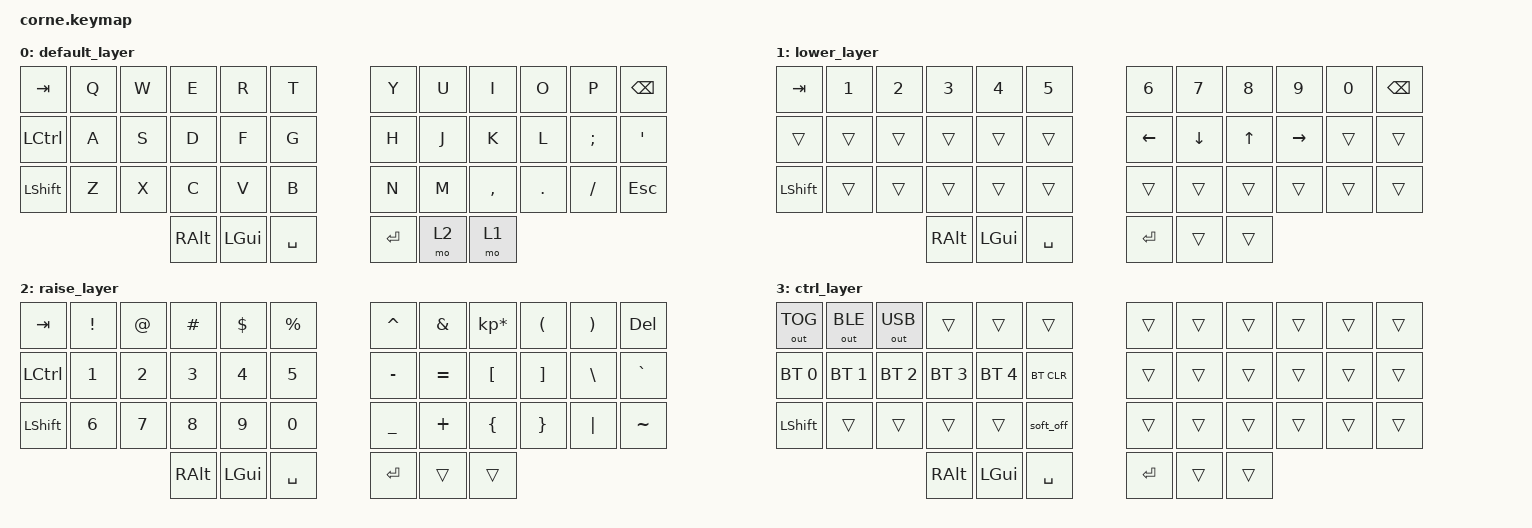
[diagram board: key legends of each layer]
/*
 * Copyright (c) 2020 The ZMK Contributors
 *
 * SPDX-License-Identifier: MIT
 */

#include <behaviors.dtsi>
#include <dt-bindings/zmk/keys.h>
#include <dt-bindings/zmk/bt.h>
#include <dt-bindings/zmk/ext_power.h>
#include <dt-bindings/zmk/outputs.h>

/ {
    conditional_layers {
        compatible = "zmk,conditional-layers";
        tri_layer {
            if-layers = <1 2>;
            then-layer = <3>;
        };
    };
    
        keymap {
                compatible = "zmk,keymap";

                default_layer {
// -----------------------------------------------------------------------------------------
// |  TAB |  Q  |  W  |  E  |  R  |  T  |   |  Y  |  U  |  I  |  O  |  P  | BKSP |
// | CTRL |  A  |  S  |  D  |  F  |  G  |   |  H  |  J  |  K  |  L  |  ;  |  '   |
// | SHFT |  Z  |  X  |  C  |  V  |  B  |   |  N  |  M  |  ,  |  .  |  /  | ESC  |
//                    | ALT | GUI | SPC |   | ENT | RSE | LWR |  
                        bindings = <
   &kp TAB   &kp Q &kp W &kp E &kp R &kp T   &kp Y &kp U  &kp I     &kp O   &kp P    &kp BSPC
   &kp LCTRL &kp A &kp S &kp D &kp F &kp G   &kp H &kp J  &kp K     &kp L   &kp SEMI &kp SQT
   &kp LSHFT &kp Z &kp X &kp C &kp V &kp B   &kp N &kp M  &kp COMMA &kp DOT &kp FSLH &kp ESC
                  &kp RALT &kp LGUI &kp SPACE   &kp RET &mo 2 &mo 1 
                        >;
                };
                lower_layer {
// -----------------------------------------------------------------------------------------
// |  TAB |  1  |  2  |  3  |  4  |  5  |   |  6  |  7  |  8  |  9  |  0  | BKSP |
// |      |     |     |     |     |     |   | LFT | DWN |  UP | RGT |     |      |
// | SHFT |     |     |     |     |     |   |     |     |     |     |     |      |
//                    | ALT | GUI | SPC |   | ENT |     |     |
                        bindings = <
   &kp TAB   &kp N1 &kp N2 &kp N3   &kp N4 &kp N5     &kp N6   &kp N7   &kp N8   &kp N9    &kp N0 &kp BSPC
   &trans    &trans &trans &trans   &trans &trans     &kp LEFT &kp DOWN &kp UP   &kp RIGHT &trans &trans
   &kp LSHFT &trans &trans &trans   &trans &trans     &trans   &trans   &trans   &trans    &trans &trans
                         &kp RALT &kp LGUI &kp SPACE  &kp RET  &trans   &trans
                        >;
                };

                raise_layer {
// -----------------------------------------------------------------------------------------
// |  TAB |  !  |  @  |  #  |  $  |  %  |   |  ^  |  &  |  *  |  (  |  )  | DEL |
// | CTRL |  1  |  2  |  3  |  4  |  5  |   |  -  |  =  |  [  |  ]  |  \  |  `  |
// | SHFT |  6  |  7  |  8  |  9  |  0  |   |  _  |  +  |  {  |  }  | "|" |  ~  |
//                    | ALT | GUI | SPC |   | ENT |     |     |
                        bindings = <
   &kp  TAB  &kp EXCL &kp AT &kp HASH &kp DLLR &kp PRCNT   &kp CARET &kp AMPS  &kp KP_MULTIPLY &kp LPAR &kp RPAR &kp DEL
   &kp LCTRL &kp N1   &kp N2 &kp N3   &kp N4   &kp N5      &kp MINUS &kp EQUAL &kp LBKT        &kp RBKT &kp BSLH &kp GRAVE
   &kp LSHFT &kp N6   &kp N7 &kp N8   &kp N9   &kp N0      &kp UNDER &kp PLUS  &kp LBRC        &kp RBRC &kp PIPE &kp TILDE
                    	     &kp RALT &kp LGUI &kp SPACE   &kp RET  &trans   &trans
                        >;
                };
                
                ctrl_layer {
// -----------------------------------------------------------------------------------------
// |  TOG | BLE | USB |     |     |      |   |     |     |     |     |     |     |
// |  BT1 | BT2 | BT3 | BT4 | BT5 | BTCLR|   |     |     |     |     |     |     |
// | SHFT |     |     |     |     | OFF  |   |     |     |     |     |     |     |
//                    | ALT | GUI | SPC  |   | ENT |     |     |
                        bindings = <
   &out OUT_TOG &out OUT_BLE &out OUT_USB &trans       &trans       &trans            &trans &trans &trans &trans &trans &trans
   &bt BT_SEL 0 &bt BT_SEL 1 &bt BT_SEL 2 &bt BT_SEL 3 &bt BT_SEL 4 &bt BT_CLR        &trans &trans &trans &trans &trans &trans
   &kp LSHFT    &trans       &trans       &trans       &trans       &soft_off         &trans &trans &trans &trans &trans &trans
                    	                  &kp RALT     &kp LGUI     &kp SPACE         &kp RET  &trans   &trans
                        >;
                };
        };
};
